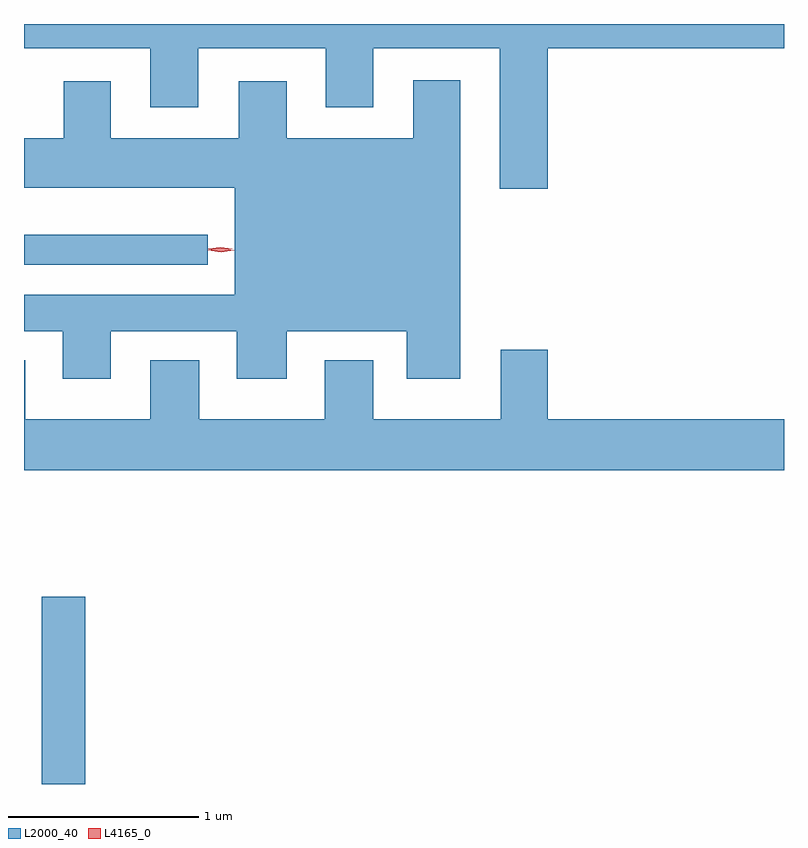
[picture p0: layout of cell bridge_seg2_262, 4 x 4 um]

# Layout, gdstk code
import gdstk
lib = gdstk.Library(unit=1e-6, precision=1e-09)
def R(c, l, rs):  # rectangles x0, y0, x1, y1
    for r in rs: c.add(gdstk.rectangle(r[:2], r[2:], *l))
def P(c, l, *ps):  # polygons
    for p in ps: c.add(gdstk.Polygon(p, *l))
L2000_40 = (2000, 40)
L4165_0 = (4165, 0)

bridge_seg2_262 = lib.new_cell('bridge_seg2_262')
R(bridge_seg2_262, L2000_40, [(640.006,1044.444,640.234,1045.429), (639.912,1047.176,640.878,1047.334)])
P(bridge_seg2_262, L2000_40, [(642.669,1048.316),(643.912,1048.316),(643.912,1048.444),(639.912,1048.444),(639.912,1048.316),(640.576,1048.316),(640.576,1048.006),(640.829,1048.006),(640.829,1048.316),(641.501,1048.316),(641.501,1048.006),(641.749,1048.006),(641.749,1048.316),(642.416,1048.316),(642.416,1047.576),(642.669,1047.576)],
  [(640.369,1046.826),(641.031,1046.826),(641.031,1046.576),(641.294,1046.576),(641.294,1046.826),(641.926,1046.826),(641.926,1046.576),(642.209,1046.576),(642.209,1048.149),(641.961,1048.149),(641.961,1047.844),(641.294,1047.844),(641.294,1048.144),(641.041,1048.144),(641.041,1047.844),(640.369,1047.844),(640.369,1048.144),(640.121,1048.144),(640.121,1047.844),(639.912,1047.844),(639.912,1047.581),(641.021,1047.581),(641.021,1047.019),(639.912,1047.019),(639.912,1046.826),(640.116,1046.826),(640.116,1046.576),(640.369,1046.576)],
  [(643.912,1046.364),(642.669,1046.364),(642.669,1046.729),(642.421,1046.729),(642.421,1046.364),(641.749,1046.364),(641.749,1046.674),(641.496,1046.674),(641.496,1046.364),(640.834,1046.364),(640.834,1046.674),(640.576,1046.674),(640.576,1046.364),(639.919,1046.364),(639.919,1046.674),(639.912,1046.674),(639.912,1046.096),(643.912,1046.096)])
P(bridge_seg2_262, L4165_0, [(640.949,1047.243),(640.88,1047.253),(640.879,1047.253),(640.88,1047.254),(640.949,1047.263),(641.017,1047.254),(641.018,1047.253),(641.017,1047.253)],
  [(640.946,1047.25),(640.884,1047.259),(640.883,1047.26),(640.884,1047.26),(640.946,1047.27),(641.008,1047.261),(641.008,1047.26),(641.008,1047.26)])

lib.write_gds('bridge_seg2_262.gds')
